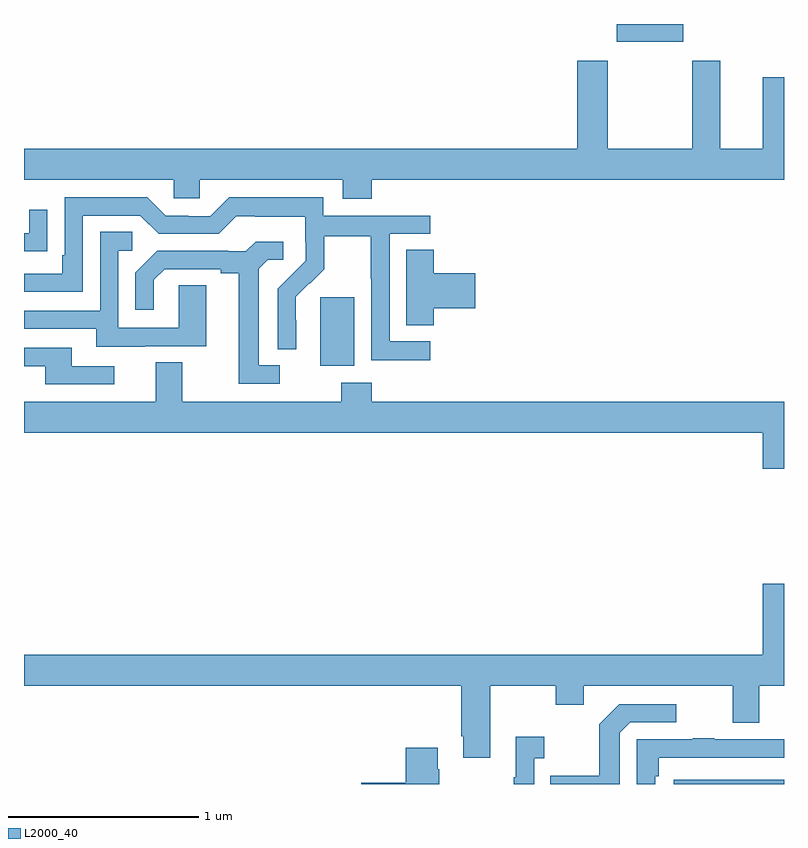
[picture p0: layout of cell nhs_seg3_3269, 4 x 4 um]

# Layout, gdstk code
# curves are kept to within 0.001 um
import gdstk
lib = gdstk.Library(unit=1e-6, precision=1e-09)
def R(c, l, rs):  # rectangles x0, y0, x1, y1
    for r in rs: c.add(gdstk.rectangle(r[:2], r[2:], *l))
def P(c, l, *ps):  # polygons
    for p in ps: c.add(gdstk.Polygon(p, *l))
L2000_40 = (2000, 40)

nhs_seg3_3269 = lib.new_cell('nhs_seg3_3269')
R(nhs_seg3_3269, L2000_40, [(284.421,700.4,285,700.422), (282.56,702.602,282.739,702.963), (284.12,704.306,284.47,704.4)])
P(nhs_seg3_3269, L2000_40, [(282.83,703.58),(285,703.58),(285,704.119),(284.888,704.119),(284.888,703.744),(284.665,703.744),(284.665,704.206),(284.518,704.206),(284.518,703.744),(284.073,703.744),(284.073,704.206),(283.913,704.206),(283.913,703.744),(281,703.744),(281,703.58),(281.787,703.58),(281.787,703.482),(281.925,703.482),(281.925,703.58),(282.677,703.58),(282.677,703.481),(282.83,703.481)],
  [(283.138,702.729),(282.924,702.729),(282.924,703.296),(283.138,703.296),(283.138,703.392),(282.576,703.392),(282.576,703.489),(282.079,703.489),(281.979,703.389),(281.864,703.389),(281.864,703.392),(281.745,703.392),(281.649,703.488),(281.214,703.488),(281.214,703.183),(281.201,703.183),(281.201,703.086),(281,703.086),(281,702.99),(281.31,702.99),(281.31,703.392),(281.613,703.392),(281.709,703.296),(282.024,703.296),(282.117,703.389),(282.217,703.389),(282.217,703.385),(282.48,703.385),(282.48,703.251),(282.482,703.251),(282.482,703.154),(282.336,703.006),(282.336,702.688),(282.432,702.688),(282.431,702.965),(282.501,703.035),(282.504,703.032),(282.581,703.109),(282.581,703.284),(282.826,703.284),(282.826,703.06),(282.828,703.06),(282.828,702.631),(283.138,702.631)],
  [(281.021,703.204),(281.123,703.204),(281.123,703.423),(281.027,703.423),(281.027,703.299),(281,703.299),(281,703.203),(281.021,703.203)],
  [(281.635,702.705),(281.959,702.705),(281.959,703.025),(281.814,703.025),(281.814,702.801),(281.496,702.801),(281.496,703.206),(281.569,703.206),(281.569,703.307),(281.4,703.307),(281.4,702.891),(281,702.891),(281,702.795),(281.381,702.795),(281.381,702.701),(281.635,702.701)],
  [(282.346,702.603),(282.235,702.603),(282.235,703.111),(282.282,703.158),(282.364,703.158),(282.364,703.255),(282.22,703.255),(282.168,703.203),(282.074,703.203),(282.074,703.206),(281.702,703.206),(281.586,703.09),(281.586,702.897),(281.683,702.897),(281.683,703.053),(281.74,703.11),(282.035,703.11),(282.035,703.088),(282.131,703.088),(282.131,702.507),(282.346,702.507)],
  [(283.157,702.905),(283.375,702.905),(283.375,703.088),(283.157,703.088),(283.157,703.211),(283.013,703.211),(283.013,702.814),(283.157,702.814)],
  [(281.476,702.6),(281.251,702.6),(281.251,702.696),(281,702.696),(281,702.6),(281.111,702.6),(281.111,702.504),(281.476,702.504)],
  [(285,702.412),(282.83,702.412),(282.83,702.511),(282.67,702.511),(282.67,702.412),(281.833,702.412),(281.833,702.62),(281.693,702.62),(281.693,702.412),(281,702.412),(281,702.248),(284.888,702.248),(284.888,702.06),(285,702.06)],
  [(283.453,700.916),(283.798,700.916),(283.798,700.817),(283.945,700.817),(283.945,700.916),(284.729,700.916),(284.729,700.722),(284.869,700.722),(284.869,700.916),(285,700.916),(285,701.455),(284.888,701.455),(284.888,701.08),(281,701.08),(281,700.916),(283.301,700.916),(283.301,700.651),(283.313,700.651),(283.313,700.539),(283.453,700.539)],
  [(284.136,700.671),(284.19,700.725),(284.434,700.725),(284.434,700.821),(284.133,700.821),(284.028,700.715),(284.028,700.443),(283.771,700.443),(283.771,700.4),(284.136,700.4)],
  [(283.686,700.535),(283.738,700.535),(283.738,700.648),(283.589,700.648),(283.589,700.435),(283.578,700.435),(283.578,700.4),(283.686,700.4)],
  [(284.322,700.442),(284.342,700.442),(284.342,700.539),(285,700.539),(285,700.635),(284.633,700.635),(284.633,700.64),(284.521,700.64),(284.521,700.635),(284.226,700.635),(284.226,700.4),(284.322,700.4)],
  [(283.185,700.478),(283.177,700.478),(283.177,700.591),(283.01,700.591),(283.01,700.406),(282.774,700.406),(282.774,700.4),(283.185,700.4)])

lib.write_gds('nhs_seg3_3269.gds')
